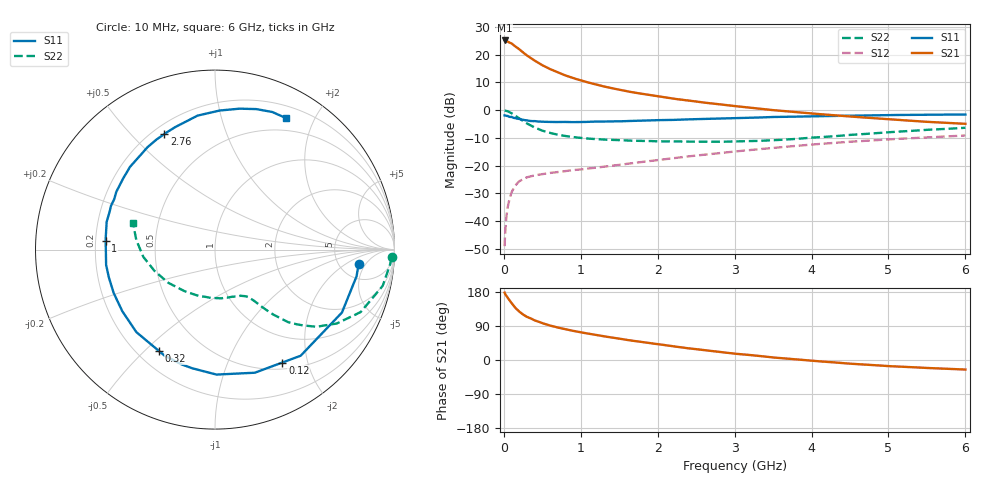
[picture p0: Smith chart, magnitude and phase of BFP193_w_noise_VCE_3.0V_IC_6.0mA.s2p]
! Infineon Technologies  Discrete & RF Semiconductors
! BFP193
! VCE = 3.0 V,  IC =  6.0 mA
! Common Emitter S-Parameters:  Jan 2016
# GHz  S  MA  R  50
!  f  S11  S21  S12  S22
! GHz  MAG  ANG  MAG  ANG  MAG  ANG  MAG  ANG
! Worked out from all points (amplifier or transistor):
!   210 points, 10 MHz to 6 GHz, reference 50 ohm
!   highest |S21| = 25.2 dB at 10 MHz (marker M1)
!   |S21| within 3 dB of that: start of sweep to 191.3 MHz
!   unconditionally stable (mu >= 1): 1.217 GHz to 3.47 GHz
!   at 185 MHz: K = 0.24, MSG = 24.2 dB, |S12| = -26.1 dB
!   at 1.52 GHz: K = 1.09, MAG = 11.6 dB, |S12| = -19.7 dB
!   at 6 GHz: K = 0.91, MSG = 2.1 dB, |S12| = -9.2 dB
!   lowest NFmin = 1.20 dB at 450 MHz
!   S11 on the Smith chart (normalised r, x): 10 MHz: 7.69, -3.42; 120 MHz: 0.59, -1.60; 320 MHz: 0.29, -0.55; 1 GHz: 0.24, +0.04; 2.76 GHz: 0.25, +0.63; 6 GHz: 0.34, +1.63
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0.01  0.8045 -5.6  18.15 177.7  0.0035 89.6  0.9853 -2.5
0.02  0.8026 -10.7  17.6 173.1  0.0071 84.6  0.9788 -4.9
0.05  0.7894 -26.4  17.31 164.0  0.0177 77.1  0.9559 -12.2
0.1  0.7599 -51.1  16.07 149.8  0.0327 65.3  0.8832 -23.2
0.12  0.7325 -59.2  15.21 145.1  0.037 61.2  0.8456 -26.2
0.15  0.7209 -72.1  14.14 137.2  0.0438 56.6  0.794 -31.2
0.2  0.6964 -89.3  12.61 127.8  0.0519 49.8  0.7095 -37.3
0.26  0.6662 -106.2  10.75 118.7  0.0578 44.0  0.6209 -42.2
0.32  0.6452 -119.0  9.341 112.3  0.0623 41.1  0.5577 -45.3
0.4  0.6351 -133.6  7.858 104.6  0.0665 37.8  0.4864 -48.1
0.5  0.6201 -146.4  6.48 97.0  0.0701 35.6  0.4267 -50.2
0.6  0.6142 -156.7  5.528 90.9  0.0735 35.1  0.3879 -51.5
0.8  0.6126 -172.0  4.236 81.1  0.0795 35.3  0.3408 -53.7
1  0.6118 175.5  3.449 73.0  0.0851 37.0  0.3154 -56.0
1.02  0.6121 174.5  3.389 72.3  0.0858 37.2  0.3136 -56.3
1.4  0.6287 157.2  2.493 59.4  0.0989 40.0  0.2916 -62.9
2.02  0.6612 135.2  1.759 41.3  0.1271 42.6  0.2732 -77.5
2.76  0.703 113.7  1.296 22.4  0.1657 41.4  0.2686 -100.4
3.1  0.7229 105.7  1.147 15.0  0.1849 39.6  0.2742 -112.2
4.1  0.7786 86.4  0.849 -3.5  0.2451 31.7  0.3246 -148.0
5.1  0.8181 72.3  0.672 -17.0  0.302 21.1  0.4077 -176.9
6  0.8328 61.6  0.567 -25.2  0.3485 10.7  0.4813 161.9
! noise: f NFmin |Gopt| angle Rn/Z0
0.45  1.2  0.25  114  0.13
0.9  1.25  0.37  150  0.12
1.8  2  0.55  -158  0.12
